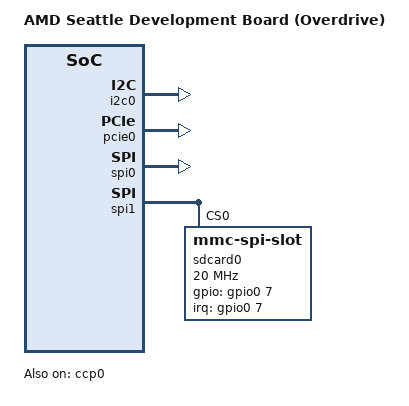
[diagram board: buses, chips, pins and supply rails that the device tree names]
/*
 * DTS file for AMD Seattle Overdrive Development Board
 *
 * Copyright (C) 2014 Advanced Micro Devices, Inc.
 */

/dts-v1/;

/include/ "amd-seattle-soc.dtsi"

/ {
	model = "AMD Seattle Development Board (Overdrive)";
	compatible = "amd,seattle-overdrive", "amd,seattle";

	chosen {
		stdout-path = &serial0;
		linux,pci-probe-only;
	};
};

&ccp0 {
	status = "ok";
};

&gpio0 {
	status = "ok";
};

&gpio1 {
	status = "ok";
};

&i2c0 {
	status = "ok";
};

&pcie0 {
	status = "ok";
};

&spi0 {
	status = "ok";
};

&spi1 {
	status = "ok";
	sdcard0: sdcard@0 {
		compatible = "mmc-spi-slot";
		reg = <0>;
		spi-max-frequency = <20000000>;
		voltage-ranges = <3200 3400>;
		gpios = <&gpio0 7 0>;
		interrupt-parent = <&gpio0>;
		interrupts = <7 3>;
		pl022,hierarchy = <0>;
		pl022,interface = <0>;
		pl022,com-mode = <0x0>;
		pl022,rx-level-trig = <0>;
		pl022,tx-level-trig = <0>;
	};
};

&v2m0 {
	arm,msi-base-spi = <64>;
	arm,msi-num-spis = <256>;
};
